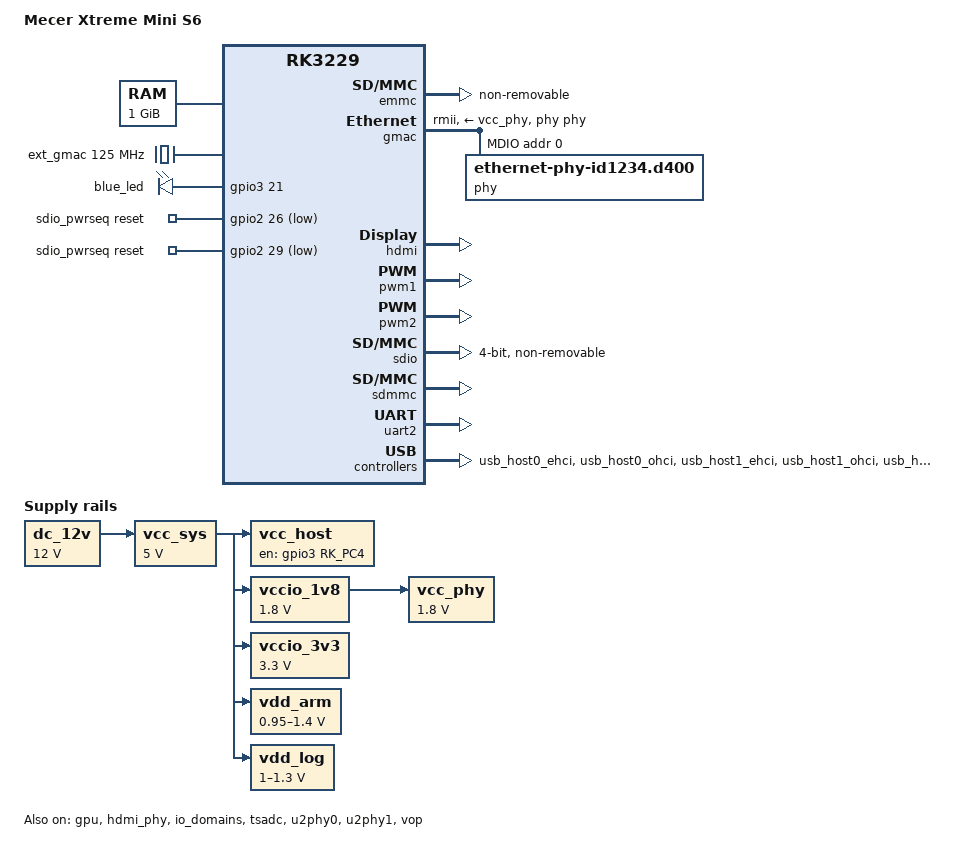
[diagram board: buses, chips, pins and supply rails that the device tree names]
// SPDX-License-Identifier: (GPL-2.0+ OR MIT)

/dts-v1/;

#include <dt-bindings/input/input.h>
#include "rk3229.dtsi"

/ {
	model = "Mecer Xtreme Mini S6";
	compatible = "mecer,xms6", "rockchip,rk3229";

	aliases {
		mmc0 = &sdmmc;
		mmc1 = &sdio;
		mmc2 = &emmc;
	};

	memory@60000000 {
		device_type = "memory";
		reg = <0x60000000 0x40000000>;
	};

	dc_12v: regulator-dc-12v {
		compatible = "regulator-fixed";
		regulator-name = "dc_12v";
		regulator-always-on;
		regulator-boot-on;
		regulator-min-microvolt = <12000000>;
		regulator-max-microvolt = <12000000>;
	};

	ext_gmac: ext_gmac {
		compatible = "fixed-clock";
		clock-frequency = <125000000>;
		clock-output-names = "ext_gmac";
		#clock-cells = <0>;
	};

	power-led {
		compatible = "gpio-leds";

		blue_led: led-0 {
			gpios = <&gpio3 21 GPIO_ACTIVE_HIGH>;
			default-state = "on";
		};
	};

	sdio_pwrseq: sdio-pwrseq {
		compatible = "mmc-pwrseq-simple";
		reset-gpios = <&gpio2 26 GPIO_ACTIVE_LOW>,
		              <&gpio2 29 GPIO_ACTIVE_LOW>;
	};

	vcc_host: regulator-vcc-host {
		compatible = "regulator-fixed";
		enable-active-high;
		gpio = <&gpio3 RK_PC4 GPIO_ACTIVE_HIGH>;
		pinctrl-names = "default";
		pinctrl-0 = <&host_vbus_drv>;
		regulator-name = "vcc_host";
		regulator-always-on;
		regulator-boot-on;
		vin-supply = <&vcc_sys>;
	};

	vcc_phy: regulator-vcc-phy {
		compatible = "regulator-fixed";
		enable-active-high;
		regulator-name = "vcc_phy";
		regulator-min-microvolt = <1800000>;
		regulator-max-microvolt = <1800000>;
		regulator-always-on;
		regulator-boot-on;
		vin-supply = <&vccio_1v8>;
	};

	vcc_sys: regulator-vcc-sys {
		compatible = "regulator-fixed";
		regulator-name = "vcc_sys";
		regulator-always-on;
		regulator-boot-on;
		regulator-min-microvolt = <5000000>;
		regulator-max-microvolt = <5000000>;
		vin-supply = <&dc_12v>;
	};

	vccio_1v8: regulator-vccio-1v8 {
		compatible = "regulator-fixed";
		regulator-name = "vccio_1v8";
		regulator-min-microvolt = <1800000>;
		regulator-max-microvolt = <1800000>;
		regulator-always-on;
		vin-supply = <&vcc_sys>;
	};

	vccio_3v3: regulator-vccio-3v3 {
		compatible = "regulator-fixed";
		regulator-name = "vccio_3v3";
		regulator-min-microvolt = <3300000>;
		regulator-max-microvolt = <3300000>;
		regulator-always-on;
		vin-supply = <&vcc_sys>;
	};

	vdd_arm: regulator-vdd-arm {
		compatible = "pwm-regulator";
		pwms = <&pwm1 0 25000 1>;
		pwm-supply = <&vcc_sys>;
		regulator-name = "vdd_arm";
		regulator-min-microvolt = <950000>;
		regulator-max-microvolt = <1400000>;
		regulator-always-on;
		regulator-boot-on;
	};

	vdd_log: regulator-vdd-log {
		compatible = "pwm-regulator";
		pwms = <&pwm2 0 25000 1>;
		pwm-supply = <&vcc_sys>;
		regulator-name = "vdd_log";
		regulator-min-microvolt = <1000000>;
		regulator-max-microvolt = <1300000>;
		regulator-always-on;
		regulator-boot-on;
	};
};

&cpu0 {
	cpu-supply = <&vdd_arm>;
};

&cpu1 {
	cpu-supply = <&vdd_arm>;
};

&cpu2 {
	cpu-supply = <&vdd_arm>;
};

&cpu3 {
	cpu-supply = <&vdd_arm>;
};

&emmc {
	cap-mmc-highspeed;
	non-removable;
	status = "okay";
};

&gmac {
	assigned-clocks = <&cru SCLK_MAC_SRC>;
	assigned-clock-rates = <50000000>;
	clock_in_out = "output";
	phy-handle = <&phy>;
	phy-mode = "rmii";
	phy-supply = <&vcc_phy>;
	status = "okay";

	mdio {
		compatible = "snps,dwmac-mdio";
		#address-cells = <1>;
		#size-cells = <0>;

		phy: ethernet-phy@0 {
			compatible = "ethernet-phy-id1234.d400",
			             "ethernet-phy-ieee802.3-c22";
			reg = <0>;
			clocks = <&cru SCLK_MAC_PHY>;
			phy-is-integrated;
			resets = <&cru SRST_MACPHY>;
		};
	};
};

&gpu {
	mali-supply = <&vdd_log>;
	status = "okay";
};

&hdmi {
	status = "okay";
};

&hdmi_phy {
	status = "okay";
};

&iep_mmu {
	status = "okay";
};

&io_domains {
	status = "okay";

	vccio1-supply = <&vccio_3v3>;
	vccio2-supply = <&vccio_1v8>;
	vccio4-supply = <&vccio_3v3>;
};

&pinctrl {
	usb {
		host_vbus_drv: host-vbus-drv {
			rockchip,pins = <3 RK_PC4 RK_FUNC_GPIO &pcfg_pull_none>;
		};
	};
};

&pwm1 {
	status = "okay";
};

&pwm2 {
	status = "okay";
};

&sdio {
	bus-width = <4>;
	cap-sd-highspeed;
	cap-sdio-irq;
	mmc-pwrseq = <&sdio_pwrseq>;
	non-removable;
	vqmmc-supply = <&vccio_1v8>;
	status = "okay";
};

&sdmmc {
	cap-mmc-highspeed;
	disable-wp;
	status = "okay";
};

&tsadc {
	rockchip,hw-tshut-mode = <0>;
	status = "okay";
};

&u2phy0 {
	status = "okay";

	u2phy0_host: host-port {
		phy-supply = <&vcc_host>;
		status = "okay";
	};

	u2phy0_otg: otg-port {
		phy-supply = <&vcc_host>;
		status = "okay";
	};
};

&u2phy1 {
	status = "okay";

	u2phy1_host: host-port {
		phy-supply = <&vcc_host>;
		status = "okay";
	};

	u2phy1_otg: otg-port {
		phy-supply = <&vcc_host>;
		status = "okay";
	};
};

&uart2 {
	pinctrl-0 = <&uart21_xfer>;
	status = "okay";
};

&usb_host0_ehci {
	status = "okay";
};

&usb_host0_ohci {
	status = "okay";
};

&usb_host1_ehci {
	status = "okay";
};

&usb_host1_ohci {
	status = "okay";
};

&usb_host2_ehci {
	status = "okay";
};

&usb_host2_ohci {
	status = "okay";
};

&usb_otg {
	status = "okay";
};

&vop {
	status = "okay";
};

&vop_mmu {
	status = "okay";
};
